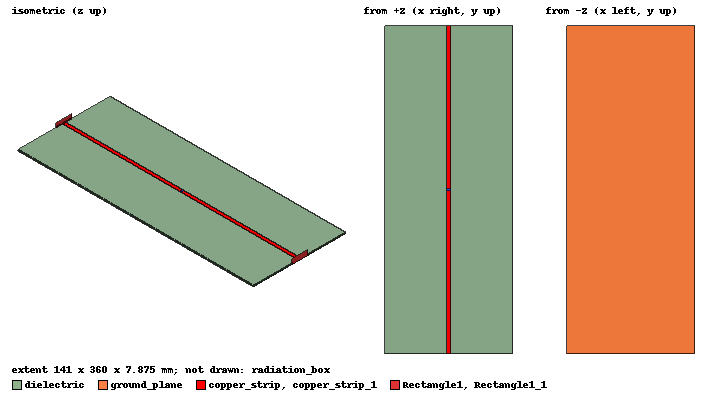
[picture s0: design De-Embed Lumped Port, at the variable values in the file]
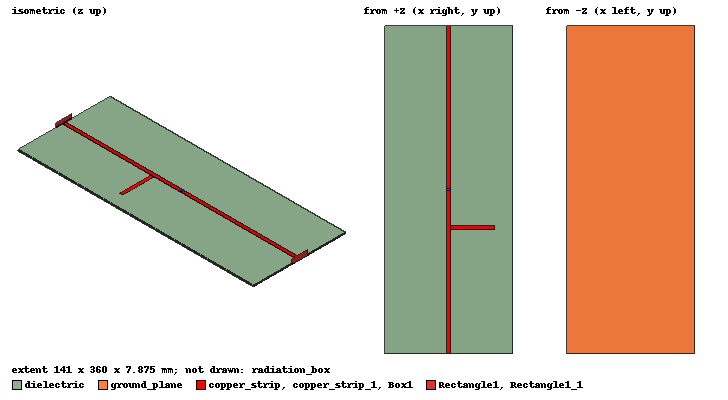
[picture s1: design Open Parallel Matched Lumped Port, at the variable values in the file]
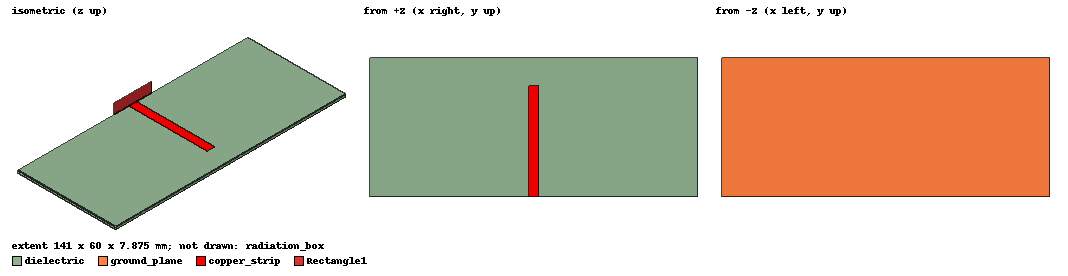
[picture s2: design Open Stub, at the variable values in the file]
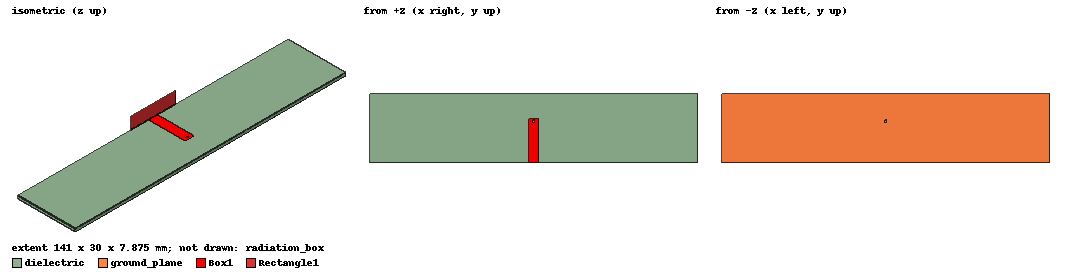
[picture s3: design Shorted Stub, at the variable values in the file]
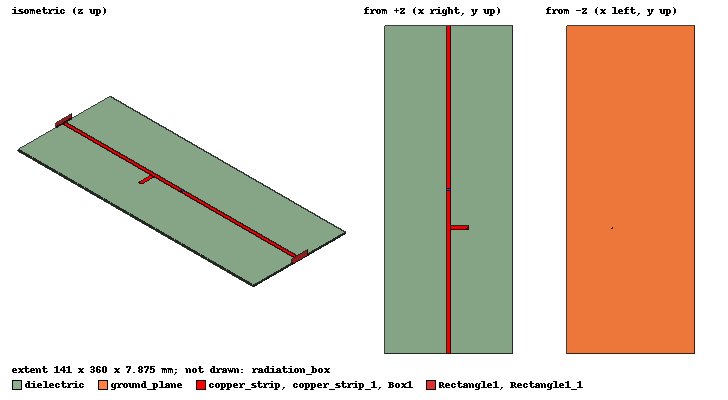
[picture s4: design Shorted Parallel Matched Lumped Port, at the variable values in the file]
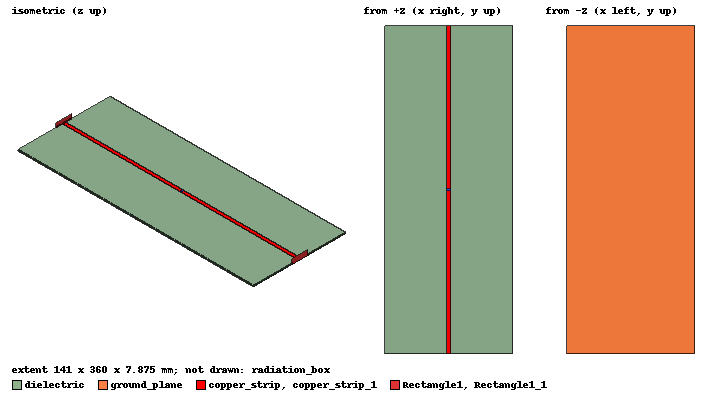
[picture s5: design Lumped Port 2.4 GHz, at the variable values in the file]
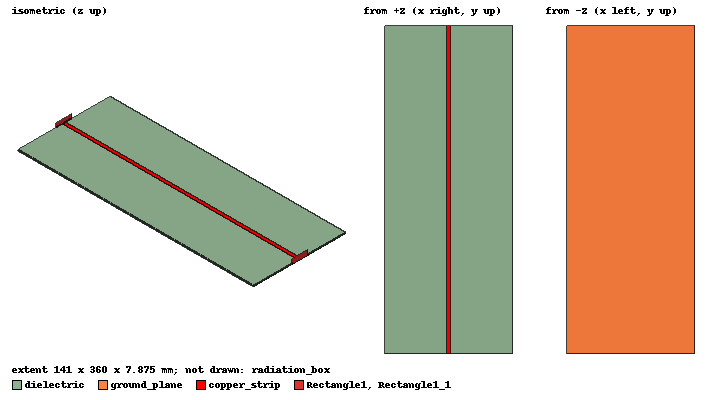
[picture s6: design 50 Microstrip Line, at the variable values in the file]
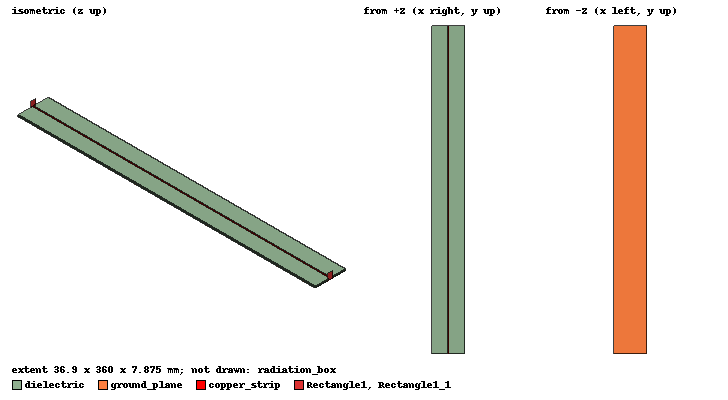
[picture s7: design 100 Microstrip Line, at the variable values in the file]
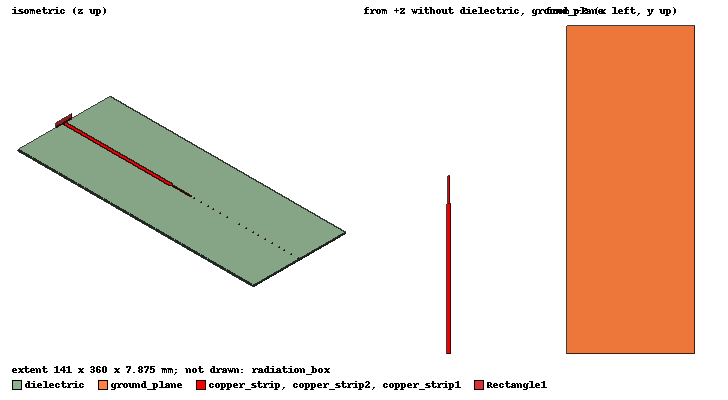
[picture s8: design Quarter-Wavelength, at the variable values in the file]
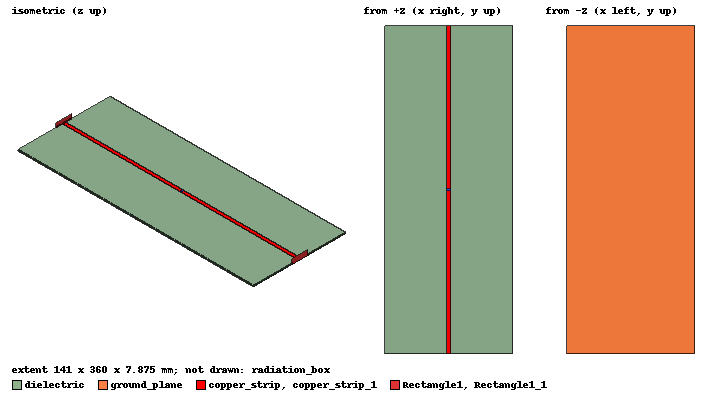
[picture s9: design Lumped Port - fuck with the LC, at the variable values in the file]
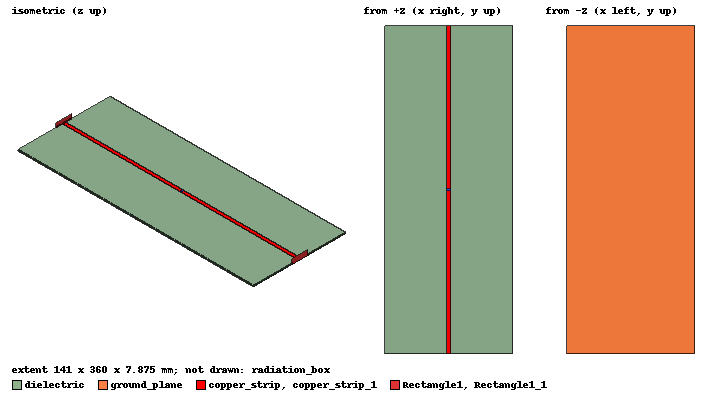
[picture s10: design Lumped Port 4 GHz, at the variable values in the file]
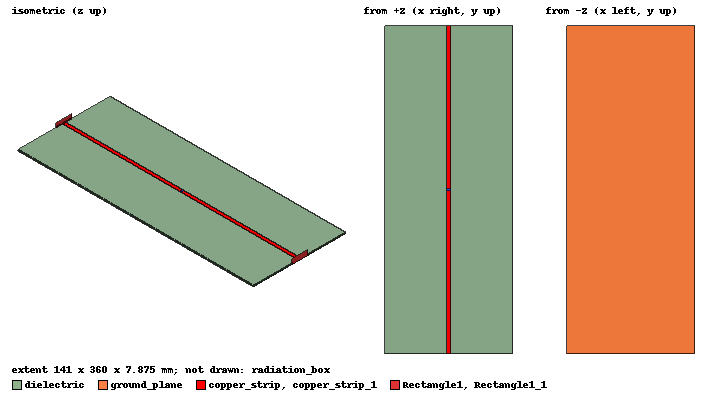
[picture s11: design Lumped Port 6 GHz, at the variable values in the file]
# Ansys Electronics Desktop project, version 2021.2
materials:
  vacuum: permittivity=1
  Rogers RT/duroid 5880 (tm): permittivity=2.2 dielectric_loss_tangent=0.0009
  copper: permeability=0.999991 conductivity=58000000

design De-Embed Lumped Port (HFSS, DrivenModal, model units mm)
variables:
  wavelength = 120mm
  stripwidth = 4.7mm
  cu = 17.5um
  dielectricthickness = 1.575mm
  lumpresistor = 100ohm
  lumpinductance = 0nH
  lumpcapacitor = 20pF
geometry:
  ground_plane [copper] = box(corner=(0mm, 0mm, 0mm), size=(30*stripwidth, 3*wavelength, cu))
  dielectric [Rogers RT/duroid 5880 (tm)] = box(corner=(0mm, 0mm, cu), size=(30*stripwidth, 3*wavelength, dielectricthickness))
  copper_strip [copper] = box(corner=((30*stripwidth - stripwidth)/2, 0mm, cu+dielectricthickness), size=(stripwidth, (3*wavelength/2)-(wavelength/100), cu))
  copper_strip_1 [copper] = copper_strip.duplicate_mirror(point=(0mm, 0, 0mm), normal=(0mm, 3*wavelength, 0mm))
  radiation_box [vacuum] = box(corner=(0mm, 0mm, 0mm), size=(30*stripwidth, 3*wavelength, 20*dielectricthickness))
  Rectangle1 = rectangle(corner=((30*stripwidth - 5*stripwidth)/2, 0mm, 0mm), z_size=5*dielectricthickness, x_size=5*stripwidth)
  Rectangle1_1 = Rectangle1.duplicate_along_line(step=(0mm, 3*wavelength, 0mm), total=2)
  copper_strip_1.move(0mm, 3*wavelength, 0mm)
  Rectangle2 = rectangle(corner=((30*stripwidth - stripwidth)/2, (3*wavelength)/2 - wavelength/100, cu+dielectricthickness), x_size=stripwidth, y_size=wavelength/50)
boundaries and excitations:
  Rad1: Radiation Objects=radiation_box
  LumpRLC: Lumped RLC Objects=Rectangle2 CurrentLine{middle of Rectangle2.edge(y at corner) -> middle of Rectangle2.edge(y opposite corner)} RLC_Type=Serial Resistance=lumpresistor Inductance=lumpinductance Capacitance=lumpcapacitor
  1: Wave Port Objects=Rectangle1 NumModes=1 DeembedDist="(3*wavelength - wavelength/50)/2" Modes{Mode1{IntLine{middle of Rectangle1.edge(z opposite corner) -> middle of dielectric.edge(6 of 12)} CharImp=Zpi RenormImp=50ohm}}
  2: Wave Port Objects=Rectangle1_1 NumModes=1 DeembedDist="(3*wavelength - wavelength/50)/2" Modes{Mode1{IntLine{middle of Rectangle1_1.edge(2 of 4) -> middle of dielectric.edge(8 of 12)} CharImp=Zpi RenormImp=50ohm}}
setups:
  Setup1: HfssDriven Frequency=5GHz MaxDeltaS=0.02 MaximumPasses=30 MinimumPasses=5 MinimumConvergedPasses=3 PercentRefinement=30 BasisOrder=1 PortAccuracy=2
    sweep Sweep: 2GHz to 6GHz, 701 points; Type=Fast SaveFields
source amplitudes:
  1:1: 1W 0deg
  2:1: 0W 0deg
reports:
  S Parameter Plot 1: dB(S(1,1)), dB(S(1,2)) vs Freq on Setup1 : Sweep
  S Parameter Plot 2: re(S(1,1)), re(S(2,1)), re(S(1,2)), re(S(2,2)) vs Freq on Setup1 : Sweep
  S Parameter Plot 3: im(S(1,1)), im(S(2,1)), im(S(1,2)), im(S(2,2)) vs Freq on Setup1 : Sweep
  Z Parameter Plot 1: re(Z(1,1)), re(Z(1,2)) vs Freq on Setup1 : Sweep
  Z Parameter Plot 2: im(Z(1,1)), im(Z(1,2)) vs Freq on Setup1 : Sweep

design Open Parallel Matched Lumped Port (HFSS, DrivenModal, model units mm)
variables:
  cu = 17.5um
  stripwidth = 4.7mm
  wavelength = 120mm
  dielectricthickness = 1.575mm
  lumpresistor = 100ohm
  lumpinductance = 0nH
  lumpcapacitor = 20pF
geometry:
  ground_plane [copper] = box(corner=(0mm, 0mm, 0mm), size=(30*stripwidth, 3*wavelength, cu))
  dielectric [Rogers RT/duroid 5880 (tm)] = box(corner=(0mm, 0mm, cu), size=(30*stripwidth, 3*wavelength, dielectricthickness))
  copper_strip [copper] = box(corner=((30*stripwidth - stripwidth)/2, 0mm, cu+dielectricthickness), size=(stripwidth, (3*wavelength/2)-(wavelength/100), cu))
  copper_strip_1 [copper] = copper_strip.duplicate_mirror(point=(0mm, 0, 0mm), normal=(0mm, 3*wavelength, 0mm))
  radiation_box [vacuum] = box(corner=(0mm, 0mm, 0mm), size=(30*stripwidth, 3*wavelength, 20*dielectricthickness))
  Rectangle1 = rectangle(corner=((30*stripwidth - 5*stripwidth)/2, 0mm, 0mm), z_size=5*dielectricthickness, x_size=5*stripwidth)
  Rectangle1_1 = Rectangle1.duplicate_along_line(step=(0mm, 3*wavelength, 0mm), total=2)
  copper_strip_1.move(0mm, 3*wavelength, 0mm)
  Rectangle2 = rectangle(corner=((30*stripwidth - stripwidth)/2, (3*wavelength)/2 - wavelength/100, cu+dielectricthickness), x_size=stripwidth, y_size=wavelength/50)
  Box1 [copper] = box(corner=((30*stripwidth + stripwidth)/2, (3*wavelength)/2 - stripwidth - wavelength/100 - 0.34*wavelength + (stripwidth/2), cu+dielectricthickness), size=(0.4*wavelength, stripwidth, cu))
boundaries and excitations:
  Rad1: Radiation Objects=radiation_box
  LumpRLC: Lumped RLC Objects=Rectangle2 CurrentLine{middle of Rectangle2.edge(y at corner) -> middle of Rectangle2.edge(y opposite corner)} RLC_Type=Parallel Resistance=lumpresistor Inductance=lumpinductance Capacitance=lumpcapacitor
  1: Wave Port Objects=Rectangle1 NumModes=1 Modes{Mode1{IntLine{middle of Rectangle1.edge(z opposite corner) -> middle of dielectric.edge(6 of 12)} CharImp=Zpi RenormImp=50ohm}}
  2: Wave Port Objects=Rectangle1_1 NumModes=1 Modes{Mode1{IntLine{middle of Rectangle1_1.edge(2 of 4) -> middle of dielectric.edge(8 of 12)} CharImp=Zpi RenormImp=50ohm}}
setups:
  Setup1: HfssDriven Frequency=5GHz MaxDeltaS=0.02 MaximumPasses=30 MinimumPasses=5 MinimumConvergedPasses=3 PercentRefinement=30 BasisOrder=1 PortAccuracy=2
    sweep Sweep: 2GHz to 6GHz, 701 points; Type=Fast SaveFields
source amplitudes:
  1:1: 1W 0deg
  2:1: 0W 0deg
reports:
  S Parameter Plot 1: dB(S(1,1)), dB(S(1,2)) vs Freq on Setup1 : Sweep
  S Parameter Chart 1: S(1,1) on Setup1 : Sweep [Freq=all]

design Open Stub (HFSS, DrivenModal, model units mm)
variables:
  cu = 17.5um
  stripwidth = 4.7mm
  dielectricthickness = 1.575mm
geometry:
  ground_plane [copper] = box(corner=(0mm, 0mm, 0mm), size=(30*stripwidth, 60mm, cu))
  dielectric [Rogers RT/duroid 5880 (tm)] = box(corner=(0mm, 0mm, cu), size=(30*stripwidth, 60mm, dielectricthickness))
  copper_strip [copper] = box(corner=((30*stripwidth - stripwidth)/2, 0mm, cu+dielectricthickness), size=(stripwidth, 48mm, cu))
  radiation_box [vacuum] = box(corner=(0mm, 0mm, 0mm), size=(30*stripwidth, 60mm, 20*dielectricthickness))
  Rectangle1 = rectangle(corner=((30*stripwidth - 5*stripwidth)/2, 0mm, 0mm), z_size=5*dielectricthickness, x_size=5*stripwidth)
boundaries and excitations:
  Rad1: Radiation Objects=radiation_box
  1: Wave Port Objects=Rectangle1 NumModes=1 Modes{Mode1{IntLine{middle of Rectangle1.edge(z opposite corner) -> middle of dielectric.edge(6 of 12)} CharImp=Zpi}}
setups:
  Setup1: HfssDriven Frequency=5GHz MaxDeltaS=0.02 MaximumPasses=30 MinimumPasses=5 MinimumConvergedPasses=3 PercentRefinement=30 BasisOrder=1 PortAccuracy=2
    sweep Sweep: 2GHz to 6GHz, 701 points; Type=Fast SaveFields
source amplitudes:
  1:1: 1W 0deg
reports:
  Z Parameter Plot 1: re(Z(1,1)) vs Freq on Setup1 : Sweep
  Z Parameter Plot 2: im(Z(1,1)) vs Freq on Setup1 : Sweep
  Port Zo Plot 1: re(Zo(1)) vs Freq on Setup1 : Sweep
  Port Zo Plot 2: im(Zo(1)) vs Freq on Setup1 : Sweep
  Z Parameter Plot 3: re(Zo(1)) vs Freq on Setup1 : Sweep
  Port Zo Plot 3: im(Zo(1)) vs Freq on Setup1 : Sweep

design Shorted Stub (HFSS, DrivenModal, model units mm)
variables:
  dielectricthickness = 1.575mm
  cu = 17.5um
  wavelength = 120mm
  stripwidth = 4.7mm
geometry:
  ground_plane [copper] = box(corner=(0mm, 0mm, 0mm), size=(30*stripwidth, 30mm, cu))
  Cylinder2 = cylinder(axis=Z, base_centre=(stripwidth/2 + (30*stripwidth - stripwidth)/2, 0.15*wavelength, 0), radius=0.004*wavelength, height=2*cu + dielectricthickness)
  Cylinder2_1 = Cylinder2.copy()
  Cylinder2_2 = Cylinder2.copy()
  ground_plane.subtract(Cylinder2)
  Cylinder1 [copper] = cylinder(axis=Z, base_centre=(stripwidth/2 + (30*stripwidth - stripwidth)/2, 0.15*wavelength, 0), radius=0.005*wavelength, height=2*cu + dielectricthickness)
  Cylinder1.subtract(Cylinder2_2)
  Cylinder1_1 = Cylinder1.copy()
  Cylinder1_2 = Cylinder1.copy()
  Cylinder1_3 = Cylinder1.copy()
  ground_plane.subtract(Cylinder1_3)
  dielectric [Rogers RT/duroid 5880 (tm)] = box(corner=(0mm, 0mm, cu), size=(30*stripwidth, 30mm, dielectricthickness))
  dielectric.subtract(Cylinder1_2)
  radiation_box [vacuum] = box(corner=(0mm, 0mm, 0mm), size=(30*stripwidth, 30mm, 20*dielectricthickness))
  Rectangle1 = rectangle(corner=((30*stripwidth - 5*stripwidth)/2, 0mm, 0mm), z_size=5*dielectricthickness, x_size=5*stripwidth)
  Box1 [copper] = box(corner=((30*stripwidth - stripwidth)/2, 0, cu+dielectricthickness), size=(stripwidth, 0.16*wavelength, cu))
  Box1.subtract(Cylinder2_1)
  Box1.subtract(Cylinder1_1)
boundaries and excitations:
  Rad1: Radiation Objects=radiation_box
  1: Wave Port Objects=Rectangle1 NumModes=1 Modes{Mode1{CharImp=Zpi}}
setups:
  Setup1: HfssDriven Frequency=5GHz MaxDeltaS=0.02 MaximumPasses=30 MinimumPasses=5 MinimumConvergedPasses=3 PercentRefinement=30 BasisOrder=1 PortAccuracy=2
    sweep Sweep: 2GHz to 6GHz, 701 points; Type=Fast SaveFields
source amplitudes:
  1:1: 1W 0deg
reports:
  Z Parameter Plot 1: re(Z(1,1)) vs Freq on Setup1 : Sweep
  Z Parameter Plot 2: im(Z(1,1)) vs Freq on Setup1 : Sweep
  Port Zo Plot 1: re(Zo(1)) vs Freq on Setup1 : Sweep
  Port Zo Plot 2: im(Zo(1)) vs Freq on Setup1 : Sweep
  Z Parameter Plot 3: im(Zo(1)) vs Freq on Setup1 : Sweep
  Port Zo Plot 3: re(Zo(1)) vs Freq on Setup1 : Sweep

design Shorted Parallel Matched Lumped Port (HFSS, DrivenModal, model units mm)
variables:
  wavelength = 120mm
  dielectricthickness = 1.575mm
  stripwidth = 4.7mm
  cu = 17.5um
  lumpresistor = 100ohm
  lumpinductance = 0nH
  lumpcapacitor = 20pF
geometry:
  ground_plane [copper] = box(corner=(0mm, 0mm, 0mm), size=(30*stripwidth, 3*wavelength, cu))
  Cylinder2 = cylinder(axis=Z, base_centre=((30*stripwidth + stripwidth)/2 + 0.15*wavelength, (3*wavelength)/2 - stripwidth - wavelength/100 - 0.34*wavelength + (stripwidth), 0), radius=0.004*wavelength, height=2*cu + dielectricthickness)
  Cylinder2_1 = Cylinder2.copy()
  Cylinder2_2 = Cylinder2.copy()
  ground_plane.subtract(Cylinder2)
  Cylinder1 [copper] = cylinder(axis=Z, base_centre=((30*stripwidth + stripwidth)/2 + 0.15*wavelength, (3*wavelength)/2 - stripwidth - wavelength/100 - 0.34*wavelength + (stripwidth), 0), radius=0.005*wavelength, height=2*cu + dielectricthickness)
  Cylinder1.subtract(Cylinder2_2)
  Cylinder1_1 = Cylinder1.copy()
  Cylinder1_2 = Cylinder1.copy()
  Cylinder1_3 = Cylinder1.copy()
  ground_plane.subtract(Cylinder1_3)
  dielectric [Rogers RT/duroid 5880 (tm)] = box(corner=(0mm, 0mm, cu), size=(30*stripwidth, 3*wavelength, dielectricthickness))
  dielectric.subtract(Cylinder1_2)
  copper_strip [copper] = box(corner=((30*stripwidth - stripwidth)/2, 0mm, cu+dielectricthickness), size=(stripwidth, (3*wavelength/2)-(wavelength/100), cu))
  copper_strip_1 [copper] = copper_strip.duplicate_mirror(point=(0mm, 0, 0mm), normal=(0mm, 3*wavelength, 0mm))
  radiation_box [vacuum] = box(corner=(0mm, 0mm, 0mm), size=(30*stripwidth, 3*wavelength, 20*dielectricthickness))
  Rectangle1 = rectangle(corner=((30*stripwidth - 5*stripwidth)/2, 0mm, 0mm), z_size=5*dielectricthickness, x_size=5*stripwidth)
  Rectangle1_1 = Rectangle1.duplicate_along_line(step=(0mm, 3*wavelength, 0mm), total=2)
  copper_strip_1.move(0mm, 3*wavelength, 0mm)
  Rectangle2 = rectangle(corner=((30*stripwidth - stripwidth)/2, (3*wavelength)/2 - wavelength/100, cu+dielectricthickness), x_size=stripwidth, y_size=wavelength/50)
  Box1 [copper] = box(corner=((30*stripwidth + stripwidth)/2, (3*wavelength)/2 - stripwidth - wavelength/100 - 0.34*wavelength + (stripwidth/2), cu+dielectricthickness), size=(0.16*wavelength, stripwidth, cu))
  Box1.subtract(Cylinder2_1)
  Box1.subtract(Cylinder1_1)
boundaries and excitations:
  Rad1: Radiation Objects=radiation_box
  LumpRLC: Lumped RLC Objects=Rectangle2 CurrentLine{middle of Rectangle2.edge(y at corner) -> middle of Rectangle2.edge(y opposite corner)} RLC_Type=Parallel Resistance=lumpresistor Inductance=lumpinductance Capacitance=lumpcapacitor
  1: Wave Port Objects=Rectangle1 NumModes=1 Modes{Mode1{IntLine{middle of Rectangle1.edge(z opposite corner) -> middle of dielectric.edge(6 of 12)} CharImp=Zpi RenormImp=50ohm}}
  2: Wave Port Objects=Rectangle1_1 NumModes=1 Modes{Mode1{IntLine{middle of Rectangle1_1.edge(2 of 4) -> middle of dielectric.edge(8 of 12)} CharImp=Zpi RenormImp=50ohm}}
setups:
  Setup1: HfssDriven Frequency=5GHz MaxDeltaS=0.02 MaximumPasses=30 MinimumPasses=5 MinimumConvergedPasses=3 PercentRefinement=30 BasisOrder=1 PortAccuracy=2
    sweep Sweep: 2GHz to 6GHz, 701 points; Type=Fast SaveFields
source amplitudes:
  1:1: 1W 0deg
  2:1: 0W 0deg
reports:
  S Parameter Plot 1: dB(S(1,1)), dB(S(1,2)) vs Freq on Setup1 : Sweep
  S Parameter Chart 1: S(1,1) on Setup1 : Sweep [Freq=all]

design Lumped Port 2.4 GHz (HFSS, DrivenModal, model units mm)
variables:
  stripwidth = 4.7mm
  wavelength = 120mm
  cu = 17.5um
  dielectricthickness = 1.575mm
  lumpresistance = 100ohm
  lumpinductance = 0nH
  lumpcapacitance = 20pF
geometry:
  ground_plane [copper] = box(corner=(0mm, 0mm, 0mm), size=(30*stripwidth, 3*wavelength, cu))
  dielectric [Rogers RT/duroid 5880 (tm)] = box(corner=(0mm, 0mm, cu), size=(30*stripwidth, 3*wavelength, dielectricthickness))
  copper_strip [copper] = box(corner=((30*stripwidth - stripwidth)/2, 0mm, cu+dielectricthickness), size=(stripwidth, (3*wavelength/2)-(wavelength/100), cu))
  copper_strip_1 [copper] = copper_strip.duplicate_mirror(point=(0mm, 0, 0mm), normal=(0mm, 3*wavelength, 0mm))
  radiation_box [vacuum] = box(corner=(0mm, 0mm, 0mm), size=(30*stripwidth, 3*wavelength, 20*dielectricthickness))
  Rectangle1 = rectangle(corner=((30*stripwidth - 5*stripwidth)/2, 0mm, 0mm), z_size=5*dielectricthickness, x_size=5*stripwidth)
  Rectangle1_1 = Rectangle1.duplicate_along_line(step=(0mm, 3*wavelength, 0mm), total=2)
  copper_strip_1.move(0mm, 3*wavelength, 0mm)
  Rectangle2 = rectangle(corner=((30*stripwidth - stripwidth)/2, (3*wavelength)/2 - wavelength/100, cu+dielectricthickness), x_size=stripwidth, y_size=wavelength/50)
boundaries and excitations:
  Rad1: Radiation Objects=radiation_box
  LumpRLC: Lumped RLC Objects=Rectangle2 CurrentLine{middle of Rectangle2.edge(y at corner) -> middle of Rectangle2.edge(y opposite corner)} RLC_Type=Serial Resistance=lumpresistance Inductance=lumpinductance Capacitance=lumpcapacitance
  1: Wave Port Objects=Rectangle1 NumModes=1 Modes{Mode1{IntLine{middle of Rectangle1.edge(z opposite corner) -> middle of dielectric.edge(6 of 12)} CharImp=Zpi RenormImp=50ohm}}
  2: Wave Port Objects=Rectangle1_1 NumModes=1 Modes{Mode1{IntLine{middle of Rectangle1_1.edge(2 of 4) -> middle of dielectric.edge(8 of 12)} CharImp=Zpi RenormImp=50ohm}}
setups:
  Setup1: HfssDriven Frequency=2.4GHz MaxDeltaS=0.02 MaximumPasses=30 MinimumPasses=5 MinimumConvergedPasses=3 PercentRefinement=30 BasisOrder=1 PortAccuracy=2
    sweep Sweep: 2GHz to 6GHz, 401 points; Type=Fast SaveFields
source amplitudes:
  1:1: 1W 0deg
  2:1: 0W 0deg
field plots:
  Mag_E1: E Field over copper_strip.face(all 6) on Setup1 : LastAdaptive at Freq=2.4GHz Phase=0deg

design 50 Microstrip Line (HFSS, DrivenModal, model units mm)
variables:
  stripwidth = 4.7mm
  cu = 17.5um
  wavelength = 120mm
  dielectricthickness = 1.575mm
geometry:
  ground_plane [copper] = box(corner=(0mm, 0mm, 0mm), size=(30*stripwidth, 3*wavelength, cu))
  dielectric [Rogers RT/duroid 5880 (tm)] = box(corner=(0mm, 0mm, cu), size=(30*stripwidth, 3*wavelength, dielectricthickness))
  copper_strip [copper] = box(corner=((30*stripwidth - stripwidth)/2, 0mm, cu+dielectricthickness), size=(stripwidth, 3*wavelength, cu))
  radiation_box [vacuum] = box(corner=(0mm, 0mm, 0mm), size=(30*stripwidth, 3*wavelength, 20*dielectricthickness))
  Rectangle1 = rectangle(corner=((30*stripwidth - 5*stripwidth)/2, 0mm, 0mm), z_size=5*dielectricthickness, x_size=5*stripwidth)
  Rectangle1_1 = Rectangle1.duplicate_along_line(step=(0mm, 3*wavelength, 0mm), total=2)
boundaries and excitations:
  Rad1: Radiation Objects=radiation_box
  1: Wave Port Objects=Rectangle1 NumModes=1 Modes{Mode1{IntLine{middle of Rectangle1.edge(z opposite corner) -> middle of dielectric.edge(6 of 12)} CharImp=Zpi}}
  2: Wave Port Objects=Rectangle1_1 NumModes=1 Modes{Mode1{IntLine{middle of Rectangle1_1.edge(2 of 4) -> middle of dielectric.edge(8 of 12)} CharImp=Zpi}}
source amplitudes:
  1:1: 1W 0deg
  2:1: 0W 0deg

design 100 Microstrip Line (HFSS, DrivenModal, model units mm)
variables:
  stripwidth = 1.23mm
  cu = 17.5um
  wavelength = 120mm
  dielectricthickness = 1.575mm
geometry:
  ground_plane [copper] = box(corner=(0mm, 0mm, 0mm), size=(30*stripwidth, 3*wavelength, cu))
  dielectric [Rogers RT/duroid 5880 (tm)] = box(corner=(0mm, 0mm, cu), size=(30*stripwidth, 3*wavelength, dielectricthickness))
  copper_strip [copper] = box(corner=((30*stripwidth - stripwidth)/2, 0mm, cu+dielectricthickness), size=(stripwidth, 3*wavelength, cu))
  radiation_box [vacuum] = box(corner=(0mm, 0mm, 0mm), size=(30*stripwidth, 3*wavelength, 20*dielectricthickness))
  Rectangle1 = rectangle(corner=((30*stripwidth - 5*stripwidth)/2, 0mm, 0mm), z_size=5*dielectricthickness, x_size=5*stripwidth)
  Rectangle1_1 = Rectangle1.duplicate_along_line(step=(0mm, 3*wavelength, 0mm), total=2)
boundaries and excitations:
  Rad1: Radiation Objects=radiation_box
  1: Wave Port Objects=Rectangle1 NumModes=1 Modes{Mode1{IntLine{middle of Rectangle1.edge(z opposite corner) -> middle of dielectric.edge(6 of 12)} CharImp=Zpi}}
  2: Wave Port Objects=Rectangle1_1 NumModes=1 Modes{Mode1{IntLine{middle of Rectangle1_1.edge(2 of 4) -> middle of dielectric.edge(8 of 12)} CharImp=Zpi}}
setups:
  Setup1: HfssDriven Frequency=5GHz MaxDeltaS=0.02 MaximumPasses=30 MinimumPasses=5 MinimumConvergedPasses=3 PercentRefinement=30 BasisOrder=1 PortAccuracy=2
    sweep Sweep: 2GHz to 6GHz, 701 points; Type=Fast SaveFields
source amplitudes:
  1:1: 1W 0deg
  2:1: 0W 0deg
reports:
  Port Zo Plot 1: re(Zo(1)) vs Freq on Setup1 : Sweep

design Quarter-Wavelength (HFSS, DrivenModal, model units mm)
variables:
  stripwidth = 4.7mm
  wavelength = 120mm
  cu = 17.5um
  dielectricthickness = 1.575mm
  stripwidth200 = 0.1674mm
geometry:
  ground_plane [copper] = box(corner=(0mm, 0mm, 0mm), size=(30*stripwidth, 3*wavelength, cu))
  dielectric [Rogers RT/duroid 5880 (tm)] = box(corner=(0mm, 0mm, cu), size=(30*stripwidth, 3*wavelength, dielectricthickness))
  copper_strip [copper] = box(corner=((30*stripwidth - stripwidth)/2, 0mm, cu+dielectricthickness), size=(stripwidth, (3*wavelength/2)-(wavelength/8), cu))
  radiation_box [vacuum] = box(corner=(0mm, 0mm, 0mm), size=(30*stripwidth, 3*wavelength, 20*dielectricthickness))
  Rectangle1 = rectangle(corner=((30*stripwidth - 5*stripwidth)/2, 0mm, 0mm), z_size=5*dielectricthickness, x_size=5*stripwidth)
  copper_strip1 [copper] = box(corner=((30*stripwidth - stripwidth200)/2, 0mm, cu+dielectricthickness), size=(stripwidth200, (3*wavelength/2)-(wavelength/8), cu))
  copper_strip1.mirror(point=(0mm, 0mm, 0mm), normal=(0mm, 3*wavelength, 0mm))
  copper_strip1.move(0mm, 3*wavelength, 0mm)
  Rectangle2 = rectangle(corner=((30*stripwidth - 5*stripwidth200)/2, 0mm, 0mm), z_size=5*dielectricthickness, x_size=5*stripwidth200)
  Rectangle2.move(0mm, 3*wavelength, 0mm)
  copper_strip2 [copper] = box(corner=((30*stripwidth - 0.0017)/2, (3*wavelength - wavelength/4)/2, cu+dielectricthickness), size=(1.7mm, wavelength/4, cu))
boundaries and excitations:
  Rad1: Radiation Objects=radiation_box
  1: Wave Port Objects=Rectangle1 NumModes=1 Modes{Mode1{IntLine{middle of Rectangle1.edge(z opposite corner) -> middle of dielectric.edge(6 of 12)} CharImp=Zpi RenormImp=50ohm}}
  2: Wave Port Objects=Rectangle2 NumModes=1 Modes{Mode1{IntLine{middle of Rectangle2.edge(z opposite corner) -> middle of dielectric.edge(8 of 12)} CharImp=Zpi RenormImp=200ohm}}
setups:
  Setup1: HfssDriven Frequency=5GHz MaxDeltaS=0.02 MaximumPasses=30 MinimumPasses=5 MinimumConvergedPasses=3 PercentRefinement=30 BasisOrder=1 PortAccuracy=2
    sweep Sweep: 2GHz to 6GHz, 701 points; Type=Fast SaveFields
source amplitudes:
  1:1: 1W 0deg
  2:1: 0W 0deg
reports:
  S Parameter Chart 1: S(1,1) on Setup1 : Sweep [Freq=all]
  S Parameter Plot 1: dB(S(1,1)), dB(S(2,1)), dB(S(1,2)), dB(S(2,2)) vs Freq on Setup1 : Sweep

design Lumped Port - fuck with the LC (HFSS, DrivenModal, model units mm)
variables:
  stripwidth = 4.7mm
  wavelength = 120mm
  cu = 17.5um
  dielectricthickness = 1.575mm
  lumpresistance = 100ohm
  lumpinductance = 20nH
  lumpcapacitance = 0pF
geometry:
  ground_plane [copper] = box(corner=(0mm, 0mm, 0mm), size=(30*stripwidth, 3*wavelength, cu))
  dielectric [Rogers RT/duroid 5880 (tm)] = box(corner=(0mm, 0mm, cu), size=(30*stripwidth, 3*wavelength, dielectricthickness))
  copper_strip [copper] = box(corner=((30*stripwidth - stripwidth)/2, 0mm, cu+dielectricthickness), size=(stripwidth, (3*wavelength/2)-(wavelength/100), cu))
  copper_strip_1 [copper] = copper_strip.duplicate_mirror(point=(0mm, 0, 0mm), normal=(0mm, 3*wavelength, 0mm))
  radiation_box [vacuum] = box(corner=(0mm, 0mm, 0mm), size=(30*stripwidth, 3*wavelength, 20*dielectricthickness))
  Rectangle1 = rectangle(corner=((30*stripwidth - 5*stripwidth)/2, 0mm, 0mm), z_size=5*dielectricthickness, x_size=5*stripwidth)
  Rectangle1_1 = Rectangle1.duplicate_along_line(step=(0mm, 3*wavelength, 0mm), total=2)
  copper_strip_1.move(0mm, 3*wavelength, 0mm)
  Rectangle2 = rectangle(corner=((30*stripwidth - stripwidth)/2, (3*wavelength)/2 - wavelength/100, cu+dielectricthickness), x_size=stripwidth, y_size=wavelength/50)
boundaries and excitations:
  Rad1: Radiation Objects=radiation_box
  LumpRLC: Lumped RLC Objects=Rectangle2 CurrentLine{middle of Rectangle2.edge(y at corner) -> middle of Rectangle2.edge(y opposite corner)} RLC_Type=Serial Resistance=lumpresistance Inductance=lumpinductance Capacitance=lumpcapacitance
  1: Wave Port Objects=Rectangle1 NumModes=1 Modes{Mode1{IntLine{middle of Rectangle1.edge(z opposite corner) -> middle of dielectric.edge(6 of 12)} CharImp=Zpi RenormImp=50ohm}}
  2: Wave Port Objects=Rectangle1_1 NumModes=1 Modes{Mode1{IntLine{middle of Rectangle1_1.edge(2 of 4) -> middle of dielectric.edge(8 of 12)} CharImp=Zpi RenormImp=50ohm}}
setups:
  Setup1: HfssDriven Frequency=2.4GHz MaxDeltaS=0.02 MaximumPasses=30 MinimumPasses=5 MinimumConvergedPasses=3 PercentRefinement=30 BasisOrder=1 PortAccuracy=2
    sweep Sweep: 2GHz to 6GHz, 701 points; Type=Interpolating InterpTolerance=0.5 InterpMaxSolns=250 InterpUsePortImped=false PassivityErrorTolerance=0.0001
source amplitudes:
  1:1: 1W 0deg
  2:1: 0W 0deg
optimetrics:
  ParametricSetup1: Parametric Sim._Setups=[Setup1]
    sweep lumpcapacitance: LIN 0pF 20pF 20pF
    sweep lumpinductance: LIN 0nH 20nH 20nH
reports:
  S Parameter Plot 1: ang_deg(S(1,1)) vs Freq on Setup1 : Sweep [lumpinductance=0nH lumpcapacitance=0pF]
  S Parameter Plot 3: ang_deg(S(1,1)) vs Freq on Setup1 : Sweep [lumpinductance=20nH lumpcapacitance=0pF]
  S Parameter Plot 4: ang_deg(S(1,1)) vs Freq on Setup1 : Sweep [lumpinductance=20nH lumpcapacitance=20pF]
  S Parameter Plot 5: ang_deg(S(1,1)) vs Freq on Setup1 : Sweep [lumpinductance=0nH lumpcapacitance=20pF]

design Lumped Port 4 GHz (HFSS, DrivenModal, model units mm)
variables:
  stripwidth = 4.7mm
  wavelength = 120mm
  cu = 17.5um
  dielectricthickness = 1.575mm
  lumpresistance = 100ohm
  lumpinductance = 0nH
  lumpcapacitance = 20pF
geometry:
  ground_plane [copper] = box(corner=(0mm, 0mm, 0mm), size=(30*stripwidth, 3*wavelength, cu))
  dielectric [Rogers RT/duroid 5880 (tm)] = box(corner=(0mm, 0mm, cu), size=(30*stripwidth, 3*wavelength, dielectricthickness))
  copper_strip [copper] = box(corner=((30*stripwidth - stripwidth)/2, 0mm, cu+dielectricthickness), size=(stripwidth, (3*wavelength/2)-(wavelength/100), cu))
  copper_strip_1 [copper] = copper_strip.duplicate_mirror(point=(0mm, 0, 0mm), normal=(0mm, 3*wavelength, 0mm))
  radiation_box [vacuum] = box(corner=(0mm, 0mm, 0mm), size=(30*stripwidth, 3*wavelength, 20*dielectricthickness))
  Rectangle1 = rectangle(corner=((30*stripwidth - 5*stripwidth)/2, 0mm, 0mm), z_size=5*dielectricthickness, x_size=5*stripwidth)
  Rectangle1_1 = Rectangle1.duplicate_along_line(step=(0mm, 3*wavelength, 0mm), total=2)
  copper_strip_1.move(0mm, 3*wavelength, 0mm)
  Rectangle2 = rectangle(corner=((30*stripwidth - stripwidth)/2, (3*wavelength)/2 - wavelength/100, cu+dielectricthickness), x_size=stripwidth, y_size=wavelength/50)
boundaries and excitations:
  Rad1: Radiation Objects=radiation_box
  LumpRLC: Lumped RLC Objects=Rectangle2 CurrentLine{middle of Rectangle2.edge(y at corner) -> middle of Rectangle2.edge(y opposite corner)} RLC_Type=Serial Resistance=lumpresistance Inductance=lumpinductance Capacitance=lumpcapacitance
  1: Wave Port Objects=Rectangle1 NumModes=1 Modes{Mode1{IntLine{middle of Rectangle1.edge(z opposite corner) -> middle of dielectric.edge(6 of 12)} CharImp=Zpi RenormImp=50ohm}}
  2: Wave Port Objects=Rectangle1_1 NumModes=1 Modes{Mode1{IntLine{middle of Rectangle1_1.edge(2 of 4) -> middle of dielectric.edge(8 of 12)} CharImp=Zpi RenormImp=50ohm}}
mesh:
  initial mesh: GlobalSurfApproximation{CurvedSurfaceApproxChoice=UseSlider SliderMeshSettings=7}
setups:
  Setup1: HfssDriven Frequency=4GHz MaxDeltaS=0.02 MaximumPasses=30 MinimumPasses=5 MinimumConvergedPasses=3 PercentRefinement=30 BasisOrder=1 PortAccuracy=2
    sweep Sweep: 2GHz to 6GHz, 401 points; Type=Interpolating InterpTolerance=0.5 InterpMaxSolns=250 InterpUsePortImped=false PassivityErrorTolerance=0.0001
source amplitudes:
  1:1: 1W 0deg
  2:1: 0W 0deg
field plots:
  Mag_E1: E Field over copper_strip.face(all 6) on Setup1 : LastAdaptive at Freq=4GHz Phase=0deg

design Lumped Port 6 GHz (HFSS, DrivenModal, model units mm)
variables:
  stripwidth = 4.7mm
  wavelength = 120mm
  cu = 17.5um
  dielectricthickness = 1.575mm
  lumpresistance = 100ohm
  lumpinductance = 0nH
  lumpcapacitance = 20pF
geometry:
  ground_plane [copper] = box(corner=(0mm, 0mm, 0mm), size=(30*stripwidth, 3*wavelength, cu))
  dielectric [Rogers RT/duroid 5880 (tm)] = box(corner=(0mm, 0mm, cu), size=(30*stripwidth, 3*wavelength, dielectricthickness))
  copper_strip [copper] = box(corner=((30*stripwidth - stripwidth)/2, 0mm, cu+dielectricthickness), size=(stripwidth, (3*wavelength/2)-(wavelength/100), cu))
  copper_strip_1 [copper] = copper_strip.duplicate_mirror(point=(0mm, 0, 0mm), normal=(0mm, 3*wavelength, 0mm))
  radiation_box [vacuum] = box(corner=(0mm, 0mm, 0mm), size=(30*stripwidth, 3*wavelength, 20*dielectricthickness))
  Rectangle1 = rectangle(corner=((30*stripwidth - 5*stripwidth)/2, 0mm, 0mm), z_size=5*dielectricthickness, x_size=5*stripwidth)
  Rectangle1_1 = Rectangle1.duplicate_along_line(step=(0mm, 3*wavelength, 0mm), total=2)
  copper_strip_1.move(0mm, 3*wavelength, 0mm)
  Rectangle2 = rectangle(corner=((30*stripwidth - stripwidth)/2, (3*wavelength)/2 - wavelength/100, cu+dielectricthickness), x_size=stripwidth, y_size=wavelength/50)
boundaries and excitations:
  Rad1: Radiation Objects=radiation_box
  LumpRLC: Lumped RLC Objects=Rectangle2 CurrentLine{middle of Rectangle2.edge(y at corner) -> middle of Rectangle2.edge(y opposite corner)} RLC_Type=Serial Resistance=lumpresistance Inductance=lumpinductance Capacitance=lumpcapacitance
  1: Wave Port Objects=Rectangle1 NumModes=1 Modes{Mode1{IntLine{middle of Rectangle1.edge(z opposite corner) -> middle of dielectric.edge(6 of 12)} CharImp=Zpi RenormImp=50ohm}}
  2: Wave Port Objects=Rectangle1_1 NumModes=1 Modes{Mode1{IntLine{middle of Rectangle1_1.edge(2 of 4) -> middle of dielectric.edge(8 of 12)} CharImp=Zpi RenormImp=50ohm}}
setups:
  Setup1: HfssDriven Frequency=6GHz MaxDeltaS=0.02 MaximumPasses=30 MinimumPasses=5 MinimumConvergedPasses=3 PercentRefinement=30 BasisOrder=1 PortAccuracy=2
    sweep Sweep: 4GHz to 10GHz, 401 points; Type=Fast SaveFields
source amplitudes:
  1:1: 1W 0deg
  2:1: 0W 0deg
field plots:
  Mag_E1: E Field over copper_strip.face(all 6) on Setup1 : LastAdaptive at Freq=6GHz Phase=0deg
